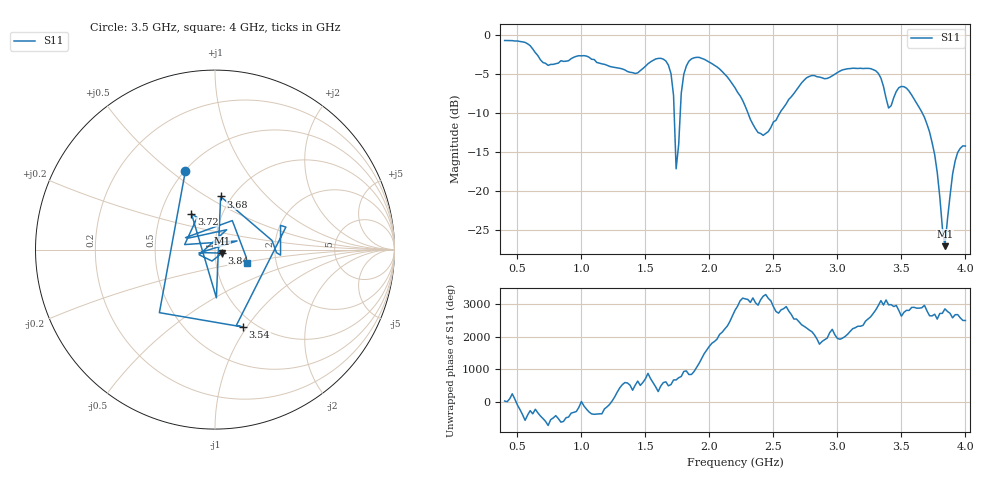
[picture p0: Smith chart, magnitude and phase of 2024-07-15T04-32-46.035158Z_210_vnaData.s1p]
!Created with skrf (http://scikit-rf.org).
# Hz S RI R 50.0
!freq ReS11 ImS11
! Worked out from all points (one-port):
!   181 points, 400 MHz to 4 GHz, reference 50 ohm
!   lowest |S11| = -27.1 dB at 3.84 GHz (marker M1), VSWR 1.09, Z = 54.1 - j2.1 ohm
!   |S11| at or under -10 dB: 1.725 GHz to 1.772 GHz (47.4 MHz wide, 2.71 % of centre); 2.302 GHz to 2.549 GHz (247.4 MHz wide, 10.2 % of centre); 3.664 GHz to end of sweep
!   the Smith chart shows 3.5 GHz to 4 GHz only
!   S11 on the Smith chart (normalised r, x): 3.5 GHz: 0.50, +0.57; 3.54 GHz: 0.88, -0.96; 3.68 GHz: 0.89, +0.58; 3.72 GHz: 0.71, +0.30; 3.84 GHz: 1.08, -0.04; 4 GHz: 1.42, -0.22
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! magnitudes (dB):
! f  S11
! 400 MHz  -0.6
! 740 MHz  -3.8
! 860 MHz  -3.3
! 1.3 GHz  -4.2
! 1.66 GHz  -3.3
! 1.7 GHz  -4.9
! 1.72 GHz  -7.7
! 1.74 GHz  -17.1
! 1.76 GHz  -14.0
! 1.78 GHz  -7.4
! 1.84 GHz  -3.3
! 2.02 GHz  -3.6
! 2.2 GHz  -6.7
! 2.42 GHz  -12.8
! 2.66 GHz  -7.5
! 2.78 GHz  -5.3
! 3.1 GHz  -4.3
! 3.32 GHz  -4.9
! 3.4 GHz  -9.3
! 3.5 GHz  -6.6
! 3.54 GHz  -6.8
! 3.56 GHz  -7.2
! 3.68 GHz  -10.5
! 3.72 GHz  -12.4
! 3.78 GHz  -17.6
! 3.84 GHz  -27.1
! 3.92 GHz  -16.1
! 4 GHz  -14.2
